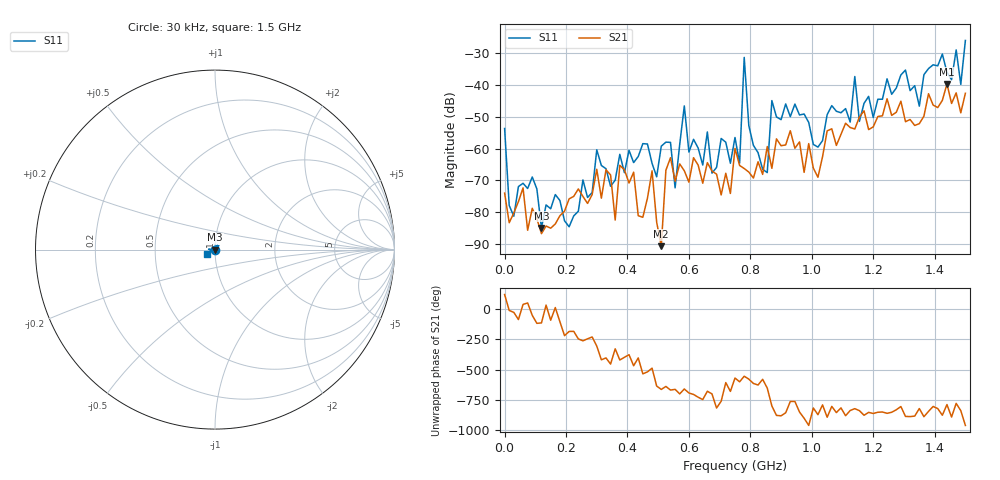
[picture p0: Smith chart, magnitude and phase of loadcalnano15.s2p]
# HZ S RI R 50
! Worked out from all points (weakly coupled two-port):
!   101 points, 30 kHz to 1.5 GHz, reference 50 ohm
!   highest |S21| = -39.59 dB at 1.44 GHz (marker M1); lowest = -90.8 dB at 510 MHz (marker M2)
!   lowest |S11| = -85.0 dB at 120 MHz (marker M3), VSWR 1.00, Z = 50 - j0.00316 ohm
!   |S11| at or under -10 dB: start of sweep to end of sweep
!   S12 and S22 are empty: the file has one direction only
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30000  0.00201 0.000506  -8.96e-05 0.000178  0 0  0 0
1.50297e7  -1.56e-06 -0.000127  6.59e-05 -1.66e-05  0 0  0 0
1.200276e8  -4.66e-05 -3.16e-05  -2.05e-05 -4.09e-05  0 0  0 0
2.550249e8  -0.00018 0.000266  -1.84e-05 0.000175  0 0  0 0
5.100198e8  -5.6e-05 0.00109  1.62e-05 2.41e-05  0 0  0 0
5.400192e8  -0.000566 0.00112  0.000452 0.000557  0 0  0 0
5.550189e8  -7.8e-05 -0.000228  0.000168 0.000256  0 0  0 0
5.850183e8  -0.00225 0.00414  0.000226 0.000386  0 0  0 0
6.750165e8  -0.000358 -0.000201  0.000418 0.000147  0 0  0 0
7.350153e8  -0.000581 -9.06e-05  0.000151 0.000125  0 0  0 0
7.50015e8  0.00128 -0.000773  -0.000872 0.000508  0 0  0 0
7.650147e8  -0.000549 0.000217  -0.000261 0.000476  0 0  0 0
7.800144e8  0.0128 0.0242  -0.000468 0.000129  0 0  0 0
7.950141e8  0.00227 -0.000367  -0.00033 0.00027  0 0  0 0
8.400132e8  0.000313 0.000355  -0.000298 0.000255  0 0  0 0
8.700126e8  0.000858 -0.00564  8.4e-05 -0.000482  0 0  0 0
1.00501e9  0.000624 -0.000984  -5.93e-05 -0.00049  0 0  0 0
1.140007e9  -0.00147 -0.0136  -0.000431 -0.00199  0 0  0 0
1.155007e9  -0.0025 0.000981  -0.00151 -0.00276  0 0  0 0
1.260005e9  0.00634 0.00338  -0.00224 -0.00248  0 0  0 0
1.440001e9  -0.0155 -0.004  0.00383 -0.00976  0 0  0 0
1.5e9  -0.0453 -0.0228  -0.00368 0.00648  0 0  0 0
